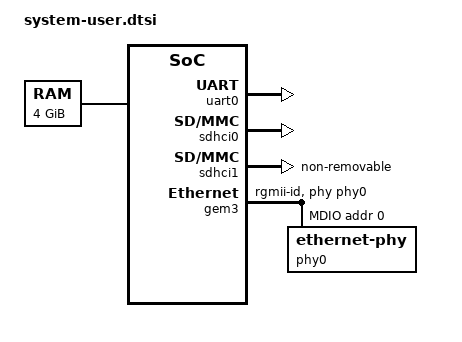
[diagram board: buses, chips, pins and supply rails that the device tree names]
/include/ "system-conf.dtsi"
/ {
    chosen {
        bootargs = "earlycon console=ttyPS0,115200 clk_ignore_unused root=/dev/mmcblk0p2 rw rootwait";
    };
    aliases { serial0 = "/axi/serial@ff000000"; };
    memory {
        device_type = "memory";
        reg = <0x0 0x0 0x1 0x0>;
    };
};
&uart0 { status = "okay"; };
&sdhci0 { status = "okay"; no-1-8-v; };
&sdhci1 { status = "okay"; non-removable; no-1-8-v; };
&gem3 {
    status = "okay";
    phy-mode = "rgmii-id";
    phy-handle = <&phy0>;
    mdio {
        #address-cells = <1>;
        #size-cells = <0>;
        phy0: ethernet-phy@0 {
            reg = <0>;
        };
    };
};
